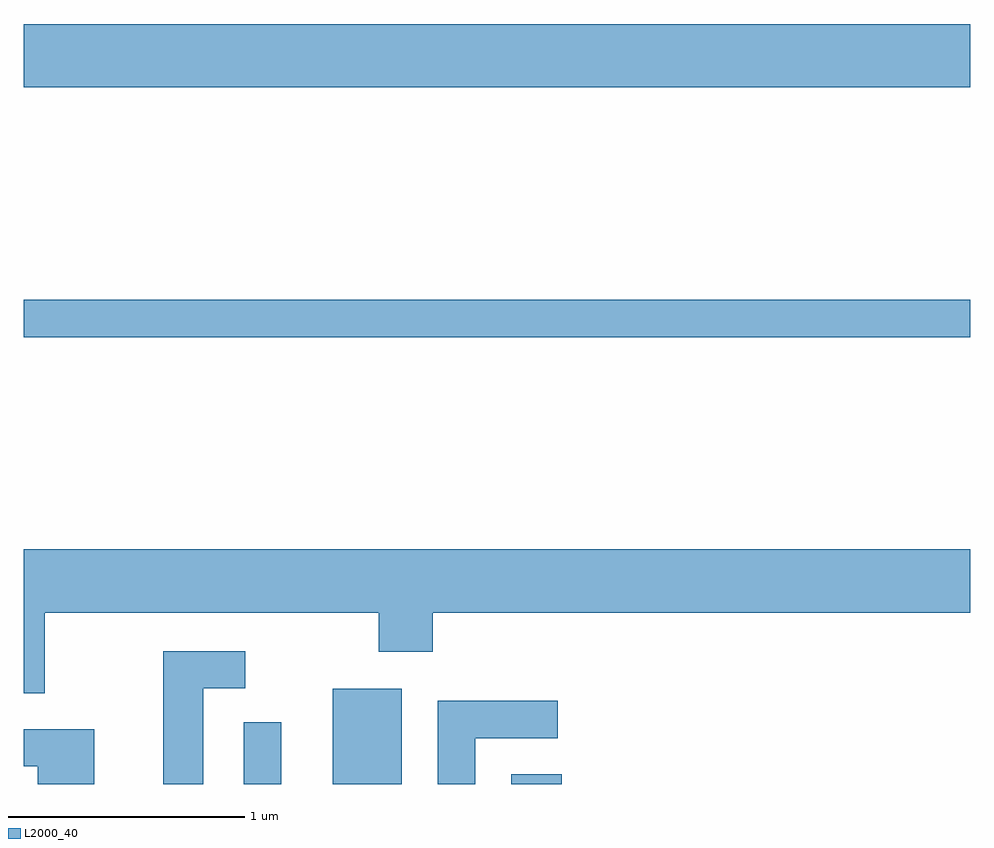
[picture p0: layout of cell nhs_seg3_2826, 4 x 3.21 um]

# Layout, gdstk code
import gdstk
lib = gdstk.Library(unit=1e-6, precision=1e-09)
def R(c, l, rs):  # rectangles x0, y0, x1, y1
    for r in rs: c.add(gdstk.rectangle(r[:2], r[2:], *l))
def P(c, l, *ps):  # polygons
    for p in ps: c.add(gdstk.Polygon(p, *l))
L2000_40 = (2000, 40)

nhs_seg3_2826 = lib.new_cell('nhs_seg3_2826')
R(nhs_seg3_2826, L2000_40, [(268.541,1191.892,268.699,1192.153), (268.916,1191.892,269.209,1192.294), (269.671,1191.892,269.884,1191.934), (267.611,1193.781,271.611,1193.939), (267.611,1194.836,271.611,1195.104)])
P(nhs_seg3_2826, L2000_40, [(267.699,1192.616),(269.111,1192.616),(269.111,1192.451),(269.339,1192.451),(269.339,1192.616),(271.611,1192.616),(271.611,1192.884),(267.611,1192.884),(267.611,1192.276),(267.699,1192.276)],
  [(268.369,1192.296),(268.548,1192.296),(268.548,1192.454),(268.201,1192.454),(268.201,1191.892),(268.369,1191.892)],
  [(269.519,1192.086),(269.868,1192.086),(269.868,1192.244),(269.361,1192.244),(269.361,1191.892),(269.519,1191.892)],
  [(267.909,1192.124),(267.611,1192.124),(267.611,1191.966),(267.671,1191.966),(267.671,1191.892),(267.909,1191.892)])

lib.write_gds('nhs_seg3_2826.gds')
